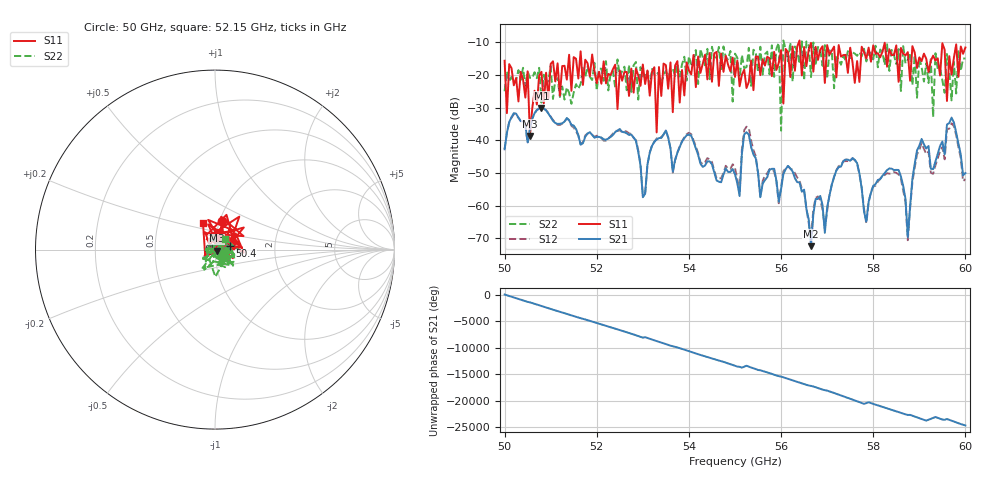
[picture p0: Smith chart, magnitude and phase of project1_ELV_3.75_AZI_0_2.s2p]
! 10/29/2026 4:16:18 PM
! C:\ANRITSUVNA\TEMP\TEMP.S2P
! CHANNEL.1
! TR.MEASUREMENT
! RAW.DATA
# HZ S RI R 50.0
! FREQ.HZ  S11RE  S11IM  S21RE  S21IM  S12RE  S12IM  S22RE  S22IM
!; PortSelection: Port_12
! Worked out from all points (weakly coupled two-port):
!   201 points, 50 GHz to 60 GHz, reference 50 ohm
!   highest |S21| = -30.10 dB at 50.8 GHz (marker M1); lowest = -72.4 dB at 56.65 GHz (marker M2)
!   lowest |S11| = -38.7 dB at 50.55 GHz (marker M3), VSWR 1.02, Z = 51 - j0.672 ohm
!   |S11| at or under -10 dB: start of sweep to 56.39 GHz; 56.4 GHz to end of sweep
!   |S22| runs from -37.1 to -9.5 dB; largest |S21 - S12| = 0.048
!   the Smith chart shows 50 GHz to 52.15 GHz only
!   S11 on the Smith chart (normalised r, x): 50 GHz: 1.02, +0.34; 50.4 GHz: 1.18, +0.05; 52.15 GHz: 0.84, +0.25
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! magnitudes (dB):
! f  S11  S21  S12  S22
! 50 GHz  -15.7  -42.8  -42.7  -25.0
! 50.4 GHz  -21.4  -34.2  -34.3  -17.9
! 50.55 GHz  -38.7  -36.7  -36.9  -20.9
! 50.8 GHz  -19.1  -30.1  -30.1  -28.5
! 51.7 GHz  -23.1  -40.9  -40.6  -17.9
! 52.15 GHz  -15.9  -39.7  -40.1  -21.8
! 53 GHz  -16.9  -57.4  -56.7  -20.5
! 53.25 GHz  -17.7  -40.5  -40.5  -19.9
! 53.3 GHz  -37.6  -39.8  -39.5  -19.2
! 53.35 GHz  -17.6  -39.3  -38.9  -20.1
! 55 GHz  -20.7  -50.4  -48.5  -13.5
! 55.95 GHz  -16.3  -58.7  -59.3  -10.3
! 56 GHz  -12.5  -54.9  -54.3  -37.1
! 56.05 GHz  -28.8  -50.4  -49.5  -9.5
! 56.65 GHz  -10.2  -72.4  -70.5  -20.7
! 56.7 GHz  -19.0  -62.7  -61.1  -10.1
! 58.35 GHz  -12.2  -48.6  -50.2  -18.8
! 58.75 GHz  -13.1  -69.6  -70.6  -15.4
! 59.05 GHz  -15.8  -39.6  -40.8  -17.7
! 59.3 GHz  -14.1  -48.8  -50.3  -32.9
! 59.35 GHz  -15.6  -46.5  -47.7  -13.4
! 60 GHz  -11.7  -50.0  -51.9  -15.0
